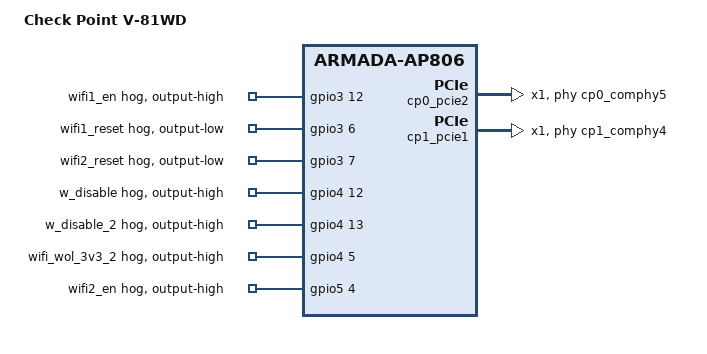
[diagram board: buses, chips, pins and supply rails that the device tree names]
// SPDX-License-Identifier: GPL-2.0-or-later OR MIT

/dts-v1/;

#include "armada-8040-v-81x.dtsi"

/ {
	model = "Check Point V-81WD";
	compatible = "checkpoint,v-81wd", "marvell,armada8040",
		     "marvell,armada-ap806-quad", "marvell,armada-ap806";
};

/*
 * No interrupt/pinctrl properties on the expanders: they must probe
 * before the PCIe controllers so the Wi-Fi hogs are applied before
 * link training. The SFP signals are therefore polled.
 */
&gpio3 {
	wifi1-en-hog {
		gpio-hog;
		gpios = <12 GPIO_ACTIVE_HIGH>;
		output-high;
		line-name = "wifi1_en";
	};

	wifi1-reset-hog {
		gpio-hog;
		gpios = <6 GPIO_ACTIVE_HIGH>;
		output-low;
		line-name = "wifi1_reset";
	};

	wifi2-reset-hog {
		gpio-hog;
		gpios = <7 GPIO_ACTIVE_HIGH>;
		output-low;
		line-name = "wifi2_reset";
	};
};

&gpio4 {
	w-disable-1-hog {
		gpio-hog;
		gpios = <12 GPIO_ACTIVE_HIGH>;
		output-high;
		line-name = "w_disable";
	};

	w-disable-2-hog {
		gpio-hog;
		gpios = <13 GPIO_ACTIVE_HIGH>;
		output-high;
		line-name = "w_disable_2";
	};

	wifi-wol-3v3-2-hog {
		gpio-hog;
		gpios = <5 GPIO_ACTIVE_HIGH>;
		output-high;
		line-name = "wifi_wol_3v3_2";
	};
};

&gpio5 {
	wifi2-en-hog {
		gpio-hog;
		gpios = <4 GPIO_ACTIVE_HIGH>;
		output-high;
		line-name = "wifi2_en";
	};
};

/*
 * Wi-Fi LED: only the blue one (led-8) is used, shared by both radios.
 * The red one (led-7) does not seem to be used on stock firmware.
 */
&{/leds/led-8} {
	linux,default-trigger = "phy0radio";
};

&cp0_pcie2 {
	status = "okay";
	num-lanes = <1>;
	phys = <&cp0_comphy5 2>;
	phy-names = "cp0-pcie2-x1-phy";
};

&cp1_pcie1 {
	status = "okay";
	num-lanes = <1>;
	phys = <&cp1_comphy4 1>;
	phy-names = "cp1-pcie1-x1-phy";
};
